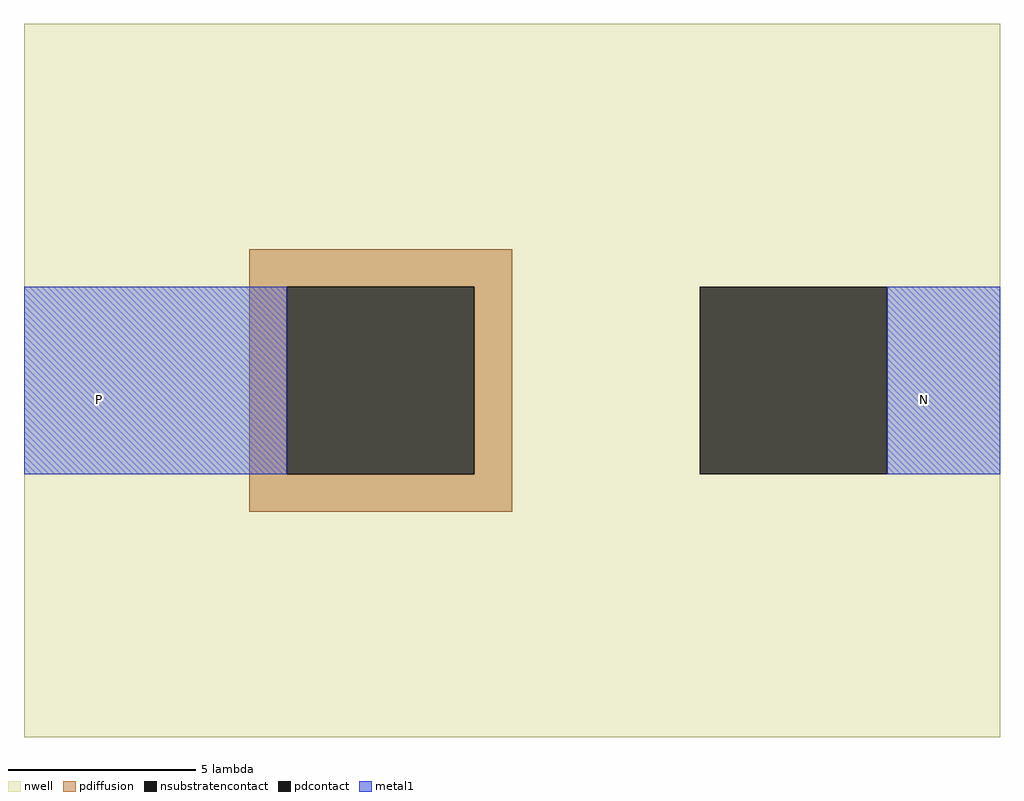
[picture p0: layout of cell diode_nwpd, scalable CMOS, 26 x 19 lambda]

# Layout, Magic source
magic
tech scmos
<< nwell >>
rect 0 0 26 19
<< pdiffusion >>
rect 6 12 13 13
rect 6 7 7 12
rect 12 7 13 12
rect 6 6 13 7
<< pdcontact >>
rect 7 7 12 12
<< nsubstratencontact >>
rect 18 7 23 12
<< metal1 >>
rect 0 7 7 12
rect 23 7 26 12
<< labels >>
rlabel metal1 2 9 2 9 1 P
rlabel metal1 24 9 24 9 1 N
<< end >>
